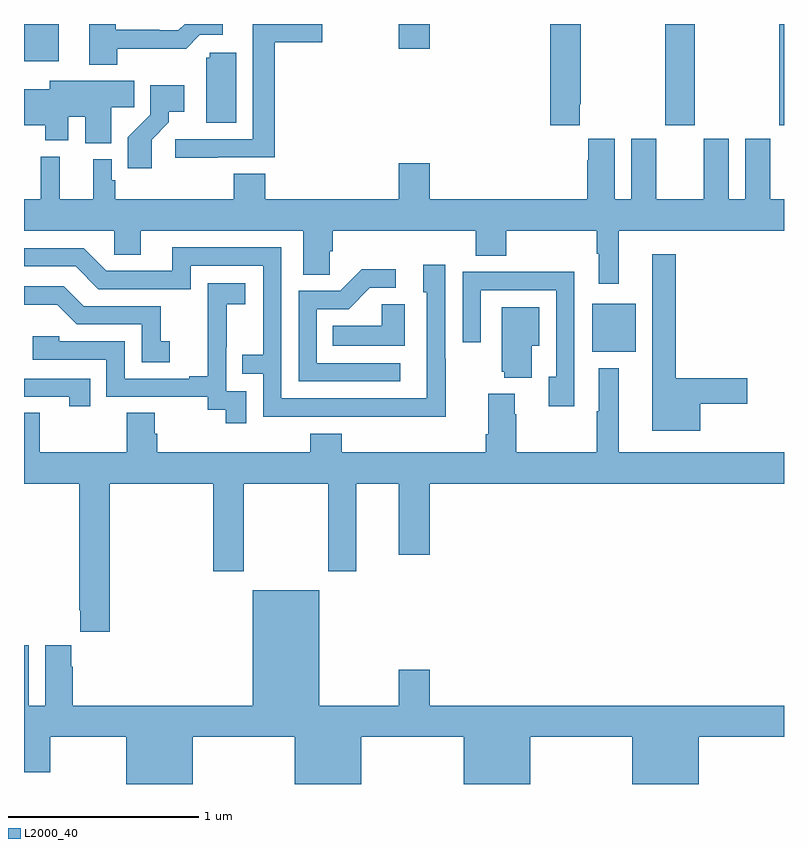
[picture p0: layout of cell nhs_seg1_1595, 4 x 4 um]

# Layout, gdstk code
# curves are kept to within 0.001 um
import gdstk
lib = gdstk.Library(unit=1e-6, precision=1e-09)
def R(c, l, rs):  # rectangles x0, y0, x1, y1
    for r in rs: c.add(gdstk.rectangle(r[:2], r[2:], *l))
def P(c, l, *ps):  # polygons
    for p in ps: c.add(gdstk.Polygon(p, *l))
L2000_40 = (2000, 40)

nhs_seg1_1595 = lib.new_cell('nhs_seg1_1595')
R(nhs_seg1_1595, L2000_40, [(201.992,504.473,202.219,504.727), (202.375,505.665,202.53,506.199), (202.975,505.665,203,506.199), (199,506.003,199.182,506.199), (200.972,506.07,201.136,506.199)])
P(nhs_seg1_1595, L2000_40, [(201.925,505.777),(201.93,505.777),(201.93,506.199),(201.77,506.199),(201.77,505.665),(201.925,505.665)],
  [(199.491,506.07),(199.853,506.069),(199.926,506.142),(200.047,506.142),(200.047,506.199),(199.845,506.199),(199.812,506.166),(199.712,506.166),(199.712,506.169),(199.483,506.169),(199.483,506.199),(199.343,506.199),(199.343,505.985),(199.491,505.985)],
  [(200.021,505.497),(200.321,505.497),(200.321,506.102),(200.569,506.102),(200.569,506.199),(200.204,506.199),(200.204,506.118),(200.205,506.118),(200.205,505.593),(199.797,505.593),(199.797,505.495),(200.021,505.495)],
  [(200.116,506.049),(199.977,506.049),(199.977,506.022),(199.958,506.022),(199.958,505.678),(200.116,505.678)],
  [(199.459,505.762),(199.58,505.762),(199.58,505.9),(199.136,505.9),(199.136,505.855),(199,505.855),(199,505.667),(199.112,505.667),(199.112,505.586),(199.234,505.586),(199.234,505.712),(199.322,505.712),(199.322,505.571),(199.459,505.571)],
  [(199.672,505.591),(199.762,505.681),(199.762,505.736),(199.843,505.736),(199.843,505.876),(199.665,505.876),(199.665,505.721),(199.546,505.602),(199.546,505.44),(199.672,505.44)],
  [(202.129,505.112),(203,505.112),(203,505.276),(202.927,505.276),(202.927,505.594),(202.796,505.594),(202.796,505.276),(202.708,505.276),(202.708,505.594),(202.577,505.594),(202.577,505.276),(202.327,505.276),(202.327,505.594),(202.196,505.594),(202.196,505.276),(202.108,505.276),(202.108,505.594),(201.971,505.594),(201.971,505.481),(201.965,505.481),(201.965,505.276),(201.136,505.276),(201.136,505.465),(200.972,505.465),(200.972,505.276),(200.27,505.276),(200.27,505.412),(200.105,505.412),(200.105,505.276),(199.481,505.276),(199.481,505.377),(199.461,505.377),(199.461,505.486),(199.364,505.486),(199.364,505.276),(199.187,505.276),(199.187,505.501),(199.088,505.501),(199.088,505.276),(199,505.276),(199,505.112),(199.476,505.112),(199.476,504.985),(199.615,504.985),(199.615,505.112),(200.471,505.112),(200.471,504.88),(200.61,504.88),(200.61,505.003),(200.624,505.003),(200.624,505.112),(201.377,505.112),(201.377,504.979),(201.537,504.979),(201.537,505.112),(202.015,505.112),(202.015,504.991),(202.025,504.991),(202.025,504.831),(202.129,504.831)],
  [(201.219,504.437),(201.216,504.437),(201.216,504.931),(201.101,504.931),(201.101,504.786),(201.12,504.786),(201.12,504.228),(200.355,504.228),(200.355,505.023),(199.781,505.023),(199.781,504.9),(199.434,504.9),(199.314,505.02),(199,505.02),(199,504.924),(199.272,504.924),(199.392,504.804),(199.878,504.804),(199.878,504.927),(200.259,504.927),(200.259,504.458),(200.149,504.458),(200.149,504.357),(200.259,504.357),(200.259,504.132),(201.219,504.131)],
  [(202.558,504.2),(202.807,504.2),(202.807,504.335),(202.429,504.335),(202.429,504.988),(202.307,504.988),(202.307,504.059),(202.558,504.059)],
  [(200.98,504.414),(200.541,504.414),(200.541,504.699),(200.71,504.699),(200.821,504.81),(200.956,504.81),(200.956,504.908),(200.777,504.908),(200.664,504.795),(200.445,504.795),(200.445,504.318),(200.98,504.318)],
  [(201.897,504.896),(201.625,504.896),(201.625,504.894),(201.309,504.894),(201.309,504.525),(201.405,504.525),(201.405,504.798),(201.801,504.798),(201.801,504.342),(201.761,504.342),(201.761,504.186),(201.897,504.186)],
  [(200.169,504.267),(200.064,504.267),(200.064,504.497),(200.066,504.497),(200.066,504.725),(200.164,504.725),(200.164,504.835),(199.966,504.835),(199.966,504.629),(199.967,504.629),(199.967,504.346),(199.871,504.346),(199.871,504.333),(199.53,504.333),(199.53,504.528),(199.185,504.528),(199.185,504.555),(199.045,504.555),(199.045,504.432),(199.434,504.432),(199.434,504.237),(199.968,504.237),(199.968,504.169),(200.061,504.169),(200.061,504.099),(200.169,504.099)],
  [(199.768,504.529),(199.719,504.529),(199.719,504.714),(199.315,504.714),(199.21,504.819),(199,504.819),(199,504.722),(199.174,504.722),(199.278,504.618),(199.62,504.618),(199.62,504.42),(199.768,504.42)],
  [(201.004,504.725),(200.883,504.725),(200.883,504.61),(200.626,504.61),(200.626,504.506),(201.004,504.506)],
  [(201.673,504.506),(201.712,504.506),(201.712,504.709),(201.515,504.709),(201.515,504.369),(201.527,504.369),(201.527,504.338),(201.673,504.338)],
  [(199.451,503.78),(199.997,503.78),(199.997,503.319),(200.157,503.319),(200.157,503.78),(200.602,503.78),(200.602,503.319),(200.749,503.319),(200.749,503.78),(200.972,503.78),(200.972,503.406),(201.136,503.406),(201.136,503.78),(203,503.78),(203,503.944),(202.129,503.944),(202.129,504.388),(202.025,504.388),(202.025,504.161),(202.015,504.161),(202.015,503.944),(201.591,503.944),(201.591,504.146),(201.583,504.146),(201.583,504.253),(201.443,504.253),(201.443,504.04),(201.431,504.04),(201.431,503.944),(200.672,503.944),(200.672,504.043),(200.507,504.043),(200.507,503.944),(199.7,503.944),(199.7,504.042),(199.687,504.042),(199.687,504.152),(199.54,504.152),(199.54,503.944),(199.083,503.944),(199.083,504.152),(199,504.152),(199,503.78),(199.291,503.78),(199.291,503.113),(199.295,503.113),(199.295,503.001),(199.451,503.001)],
  [(199.349,504.333),(199,504.333),(199,504.237),(199.238,504.237),(199.238,504.186),(199.349,504.186)],
  [(199.888,502.448),(200.426,502.448),(200.426,502.199),(200.776,502.199),(200.776,502.448),(201.314,502.448),(201.314,502.199),(201.664,502.199),(201.664,502.448),(202.202,502.448),(202.202,502.199),(202.552,502.199),(202.552,502.448),(203,502.448),(203,502.612),(201.136,502.612),(201.136,502.801),(200.972,502.801),(200.972,502.612),(200.554,502.612),(200.554,503.218),(200.204,503.218),(200.204,502.612),(199.256,502.612),(199.256,502.817),(199.249,502.817),(199.249,502.93),(199.112,502.93),(199.112,502.612),(199.024,502.612),(199.024,502.93),(199,502.93),(199,502.26),(199.138,502.26),(199.138,502.448),(199.538,502.448),(199.538,502.199),(199.888,502.199)])

lib.write_gds('nhs_seg1_1595.gds')
